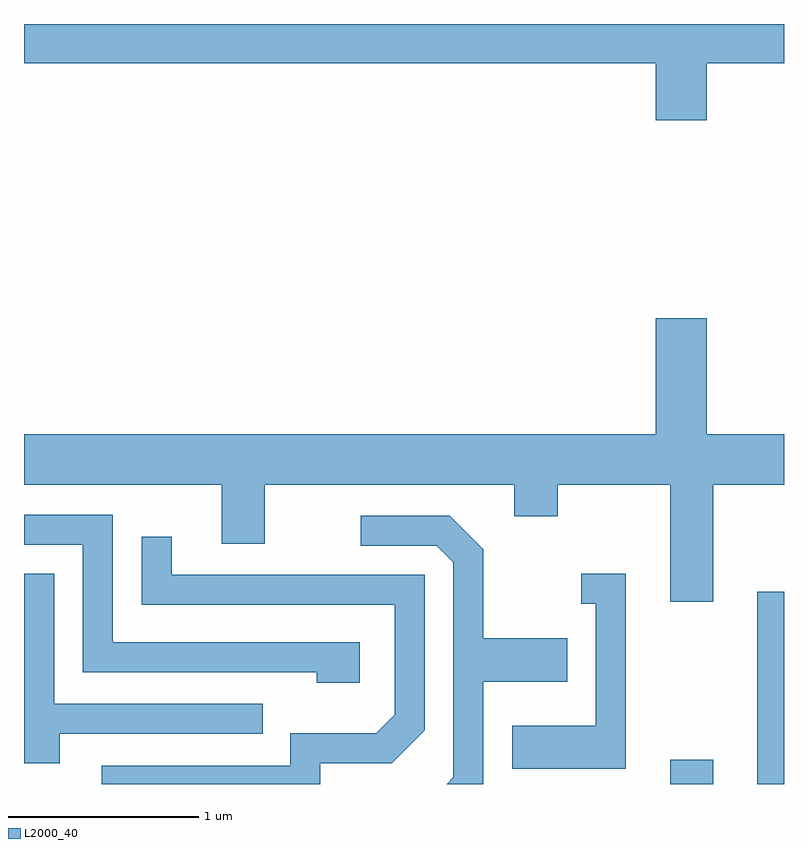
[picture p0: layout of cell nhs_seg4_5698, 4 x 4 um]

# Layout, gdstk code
import gdstk
lib = gdstk.Library(unit=1e-6, precision=1e-09)
def R(c, l, rs):  # rectangles x0, y0, x1, y1
    for r in rs: c.add(gdstk.rectangle(r[:2], r[2:], *l))
def P(c, l, *ps):  # polygons
    for p in ps: c.add(gdstk.Polygon(p, *l))
L2000_40 = (2000, 40)

nhs_seg4_5698 = lib.new_cell('nhs_seg4_5698')
R(nhs_seg4_5698, L2000_40, [(355.011,1361.982,355.239,1362.109), (355.471,1361.982,355.611,1362.994)])
P(nhs_seg4_5698, L2000_40, [(351.611,1365.776),(354.936,1365.776),(354.936,1365.476),(355.204,1365.476),(355.204,1365.776),(355.611,1365.776),(355.611,1365.982),(351.611,1365.982)],
  [(355.239,1363.556),(355.611,1363.556),(355.611,1363.824),(355.204,1363.824),(355.204,1364.434),(354.936,1364.434),(354.936,1363.824),(351.611,1363.824),(351.611,1363.556),(352.651,1363.556),(352.651,1363.246),(352.879,1363.246),(352.879,1363.556),(354.191,1363.556),(354.191,1363.391),(354.419,1363.391),(354.419,1363.556),(355.011,1363.556),(355.011,1362.941),(355.239,1362.941)],
  [(353.379,1362.729),(352.079,1362.729),(352.079,1363.399),(351.611,1363.399),(351.611,1363.241),(351.921,1363.241),(351.921,1362.571),(353.151,1362.571),(353.151,1362.516),(353.379,1362.516)],
  [(354.029,1362.521),(354.469,1362.521),(354.469,1362.749),(354.029,1362.749),(354.029,1363.217),(353.852,1363.394),(353.383,1363.394),(353.383,1363.236),(353.784,1363.236),(353.871,1363.149),(353.871,1362.017),(353.836,1361.982),(354.029,1361.982)],
  [(353.169,1362.091),(353.547,1362.091),(353.719,1362.264),(353.719,1363.084),(352.389,1363.084),(352.389,1363.283),(352.231,1363.283),(352.231,1362.926),(353.561,1362.926),(353.561,1362.347),(353.464,1362.249),(353.011,1362.249),(353.011,1362.079),(352.021,1362.079),(352.021,1361.982),(353.169,1361.982)],
  [(354.779,1363.089),(354.543,1363.089),(354.543,1362.931),(354.621,1362.931),(354.621,1362.289),(354.181,1362.289),(354.181,1362.061),(354.779,1362.061)],
  [(351.799,1362.246),(352.868,1362.246),(352.868,1362.404),(351.769,1362.404),(351.769,1363.089),(351.611,1363.089),(351.611,1362.091),(351.799,1362.091)])

lib.write_gds('nhs_seg4_5698.gds')
